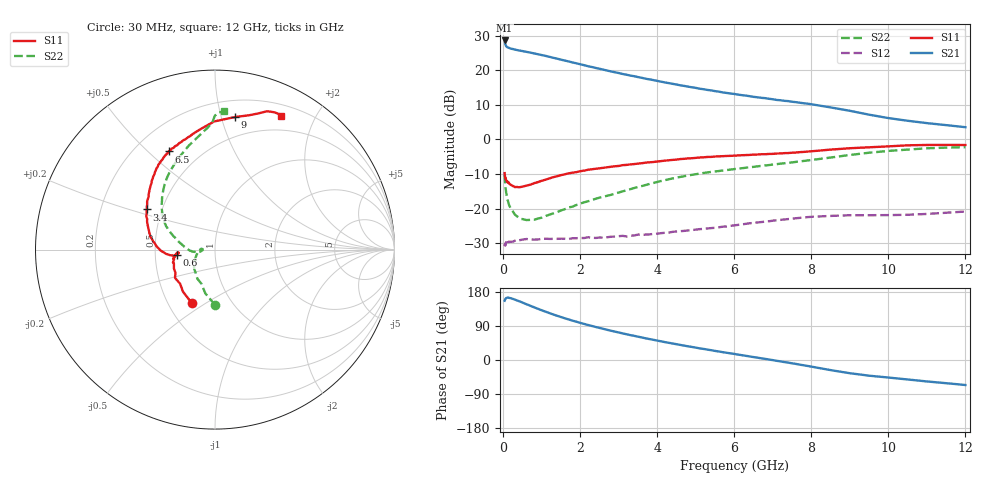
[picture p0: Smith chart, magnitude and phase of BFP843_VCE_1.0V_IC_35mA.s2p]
! Infineon Technologies  Discrete & RF Semiconductors
! BFP843
! VCE =  1.0 V,  IC =  35 mA
! Common Emitter S-Parameters:  Aug 2013
# GHz  S  MA  R  50
!  f  S11  S21  S12  S22
! GHz  MAG  ANG  MAG  ANG  MAG  ANG  MAG  ANG
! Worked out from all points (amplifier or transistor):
!   103 points, 30 MHz to 12 GHz, reference 50 ohm
!   highest |S21| = 28.7 dB at 30 MHz (marker M1)
!   |S21| within 3 dB of that: start of sweep to 457.5 MHz
!   unconditionally stable (mu >= 1): 69.29 MHz to 71.56 MHz; 86.6 MHz to 10.64 GHz
!   at 400 MHz: K = 1.06, MAG = 26.0 dB, |S12| = -29.2 dB
!   at 3.7 GHz: K = 1.38, MAG = 18.9 dB, |S12| = -27.5 dB
!   at 12 GHz: K = 0.88, MSG = 12.2 dB, |S12| = -20.9 dB
!   S11 on the Smith chart (normalised r, x): 30 MHz: 0.66, -0.44; 600 MHz: 0.65, -0.04; 3.4 GHz: 0.41, +0.23; 6.5 GHz: 0.34, +0.58; 9 GHz: 0.33, +1.11; 12 GHz: 0.32, +1.57
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0.03  0.3257 -113.1  27.19 156.5  0.0285 26.1  0.3092 -89.8
0.04  0.2947 -127.3  24.97 158.4  0.031 21.4  0.2498 -102.5
0.05  0.2721 -135.5  23.83 161.3  0.0292 27.5  0.2056 -111.3
0.07  0.2556 -149.5  22.44 163.3  0.0315 16.4  0.1703 -128.9
0.1  0.2414 -161.6  21.71 164.5  0.033 13.9  0.1368 -145.6
0.13  0.2345 -166.7  21.4 164.6  0.0327 10.7  0.121 -155.8
0.2  0.2188 -173.5  20.62 162.8  0.033 8.8  0.0977 -170.5
0.6  0.215 -172.0  18.58 147.1  0.0362 5.9  0.0681 178.9
0.9  0.242 -172.4  17.16 134.9  0.0357 5.8  0.0716 -176.9
1.2  0.2738 -175.0  15.72 123.6  0.0363 6.3  0.0818 -172.4
1.6  0.3138 178.9  13.89 109.9  0.0365 7.1  0.0982 -171.5
2.1  0.3549 170.6  11.9 95.1  0.0374 9.0  0.1232 -175.0
2.7  0.3964 160.7  9.941 79.5  0.0384 11.1  0.1534 178.6
3.4  0.4405 149.5  8.243 63.7  0.0408 13.4  0.1987 169.2
4.1  0.4869 138.9  6.87 49.2  0.044 14.6  0.2508 160.9
5.1  0.5486 127.4  5.432 30.7  0.0503 15.8  0.3206 151.4
6.1  0.588 119.1  4.46 14.2  0.058 14.6  0.3781 141.6
6.5  0.6047 115.3  4.142 7.7  0.0617 13.0  0.4016 137.3
8.5  0.7138 90.4  2.913 -26.7  0.0782 -1.1  0.5478 112.0
9  0.747 81.4  2.604 -34.9  0.08 -5.7  0.5971 104.2
10.5  0.8236 69.4  1.868 -51.4  0.0812 -12.9  0.7141 91.0
12  0.8322 63.6  1.507 -66.0  0.0905 -19.8  0.773 86.3
